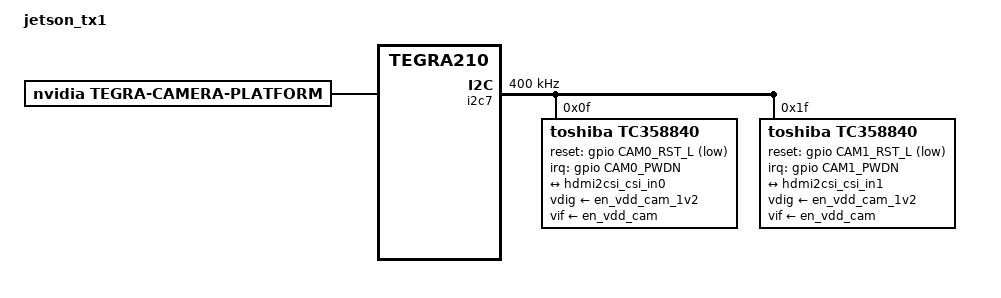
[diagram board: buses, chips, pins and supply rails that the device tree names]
/*
 * arch/arm64/boot/dts/tegra210-jetson-tx1-p2597-2180-a01-devkit.dts
 *
 * Copyright (c) 2016, NVIDIA CORPORATION.  All rights reserved.
 *
 * This program is free software; you can redistribute it and/or modify
 * it under the terms of the GNU General Public License as published by
 * the Free Software Foundation; version 2 of the License.
 *
 * This program is distributed in the hope that it will be useful, but WITHOUT
 * ANY WARRANTY; without even the implied warranty of MERCHANTABILITY or
 * FITNESS FOR A PARTICULAR PURPOSE.  See the GNU General Public License for
 * more details.
 *
 */

#include "tegra210-jetson-cv-base-p2597-2180-a00.dts"

/ {
	model = "jetson_tx1";
	compatible = "nvidia,jetson-cv", "nvidia,tegra210";
	nvidia,dtsfilename = __FILE__;

	#address-cells = <2>;
	#size-cells = <2>;

	chosen {
		bootloader {
			nvidia,skip-display-init;
		};
	};

	host1x {
		dc@54200000 {
			status = "disabled";
		};

		dsi {
			status = "disabled";
			panel-a-wuxga-8-0 {
				status = "disabled";
			};
			panel-s-wqxga-10-1 {
				status = "disabled";
			};
		};

		sor {
			panel-s-edp-uhdtv-15-6 {
				status = "disabled";
			};
			prod-settings {
				status = "disabled";
			};
		};
	};

	i2c@7000c400 {
		lp8557-backlight-a-wuxga-8-0@2c {
			status = "disabled";
		};
	};

	pinmux@700008d4 {
		common {
			/*
			 * Pull down the INT pin of the TC358840 (HDMI IN A) while
			 * in reset in order to set i2c address 0x0F.
			 */
			cam1_pwdn_ps7 {
				nvidia,enable-input = <TEGRA_PIN_ENABLE>;
				nvidia,pull = <TEGRA_PIN_PULL_DOWN>;
				nvidia,tristate = <TEGRA_PIN_DISABLE>;
			};

			/*
			 * Pull up the INT pin of the TC358840 (HDMI IN B) while
			 * in reset in order to set i2c address 0x1F.
			 */
			cam2_pwdn_pt0 {
				nvidia,enable-input = <TEGRA_PIN_ENABLE>;
				nvidia,pull = <TEGRA_PIN_PULL_UP>;
				nvidia,tristate = <TEGRA_PIN_DISABLE>;
			};
		};
	};

	/*
	 * Delete device-tree entries by Nvidia for camera hardware that is not
	 * available on the HDMI2CSI hardware and not supported by tegra_vi2
	 */
	/delete-node/ plugin-manager;
	i2c@7000c000 {
		/delete-node/ ov23850_c@36;
		/delete-node/ lc898212@72;
	};
	/delete-node/ tegra-camera-platform;
	aliases {
		/delete-property/ gpio288;
	};
	host1x {
		// /delete-node/ vi;
		vi {
			/delete-node/ ports;
		};
		/delete-node/ nvcsi;
		/delete-node/ i2c@546c0000;
	};
	/* en_vdd_vcm_2v8: Conflict with CAM0_RST_L */
	regulators {
		/delete-node/ regulator@210;
	};
	gpio: gpio@6000d000 {
		/delete-node/ camera-control-output-low;
	};

	host1x {
		i2c7: i2c@546c0000 {
			#address-cells = <1>;
			#size-cells = <0>;
			compatible = "nvidia,tegra210-vii2c";
			reg = <0x0 0x546C0000 0x0 0x00034000>;
			iommus = <&smmu TEGRA_SWGROUP_VII2C>;
			interrupts = <0 17 0x04>;
			scl-gpio = <&gpio TEGRA_GPIO(S, 2) 0>;
			sda-gpio = <&gpio TEGRA_GPIO(S, 3) 0>;
			clocks = <&tegra_car TEGRA210_CLK_VI_I2C>,
				<&tegra_car TEGRA210_CLK_I2CSLOW>,
				<&tegra_car TEGRA210_CLK_HOST1X>;
			clock-names = "vii2c", "i2cslow", "host1x";
			resets = <&tegra_car 208>;
			reset-names = "vii2c";
			clock-frequency = <400000>;

			status = "okay";
			bus-pullup-supply = <&max77620_sd3>;
			avdd_dsi_csi-supply = <&max77620_ldo0>;


			/* HDMI IN A (4K) */
			tc358840@0f {
				compatible = "toshiba,tc358840";
				reg = <0x0f>;
				status = "okay";
				devnode = "video0";

				/* Power Supply */
				vdig-supply = <&en_vdd_cam_1v2>;
				vif-supply = <&en_vdd_cam>;

				/* Reset */
				reset-gpios = <&gpio CAM0_RST_L GPIO_ACTIVE_LOW>;

				/* Interrupt */
				interrupt-parent = <&gpio>;
				interrupts = <CAM0_PWDN IRQ_TYPE_LEVEL_HIGH>;

				refclk_hz = <48000000>; /* 40 - 50 MHz */

				ddc5v_delay = <1>;		/* 50 ms */

				/* HDCP */
				/* TODO: Not yet implemented */
				enable_hdcp = <0>;

				/* CSI Output */
				/* Enable TX0 (4 lanes) & TX1 (4 lanes) */
				csi_port = <3>;
				/* FIXME: DEBUG */
				// csi_port = <1>;

				lineinitcnt = <0x00000FA0>;
				lptxtimecnt = <0x00000004>;
				tclk_headercnt = <0x00180203>;
				tclk_trailcnt = <0x00040005>;
				ths_headercnt = <0x000D0004>;
				twakeup = <0x00003E80>;
				tclk_postcnt = <0x0000000A>;
				ths_trailcnt = <0x00080006>;
				hstxvregcnt = <0x00000020>;

				/* PLL */
				/* Bps per lane is (refclk_hz / pll_prd) * pll_fbd */
				pll_prd = <10>;
				pll_fbd = <125>;

				port@0 {
					ret = <0>;
					hdmi2csi_tc358840_out0: endpoint {
						csi-port = <0>;
						bus-width = <8>;
						remote-endpoint = <&hdmi2csi_csi_in0>;
					};
				};
			};

			/* HDMI IN B (Full HD) */
			tc358840@1f {
				compatible = "toshiba,tc358840";
				reg = <0x1f>;
				status = "okay";
				devnode = "video1";

				/* Power Supply */
				vdig-supply = <&en_vdd_cam_1v2>;
				vif-supply = <&en_vdd_cam>;

				/* Reset */
				reset-gpios = <&gpio CAM1_RST_L GPIO_ACTIVE_LOW>;

				/* Interrupt */
				interrupt-parent = <&gpio>;
				interrupts = <CAM1_PWDN IRQ_TYPE_LEVEL_HIGH>;

				refclk_hz = <48000000>; /* 40 - 50 MHz */

				ddc5v_delay = <1>;	/* 50 ms */

				/* HDCP */
				/* TODO: Not yet implemented */
				enable_hdcp = <0>;

				/* CSI Output */
				csi_port = <1>;		/* Enable TX0 only */

				lineinitcnt = <0x00000FA0>;
				lptxtimecnt = <0x00000004>;
				tclk_headercnt = <0x00180203>;
				tclk_trailcnt = <0x00040005>;
				ths_headercnt = <0x000D0004>;
				twakeup = <0x00003E80>;
				tclk_postcnt = <0x0000000A>;
				ths_trailcnt = <0x00080006>;
				hstxvregcnt = <0x00000020>;

				/* PLL */
				/* Bps per lane is (refclk_hz / pll_prd) * pll_fbd */
				pll_prd = <10>;
				pll_fbd = <125>;

				port@0 {
					ret = <0>;
					hdmi2csi_tc358840_out1: endpoint {
						csi-port = <4>;
						bus-width = <4>;
						remote-endpoint = <&hdmi2csi_csi_in1>;
					};
				};
			};
		};
	};

	host1x {
		vi {
			num-channels = <2>;
			ports {
				#address-cells = <1>;
				#size-cells = <0>;
				port@0 {
					reg = <0>;
					hdmi2csi_vi_in0: endpoint {
						csi-port = <0>;
						bus-width = <8>;
						remote-endpoint = <&hdmi2csi_csi_out0>;
					};
				};
				port@1 {
					reg = <1>;
					hdmi2csi_vi_in1: endpoint {
						csi-port = <4>;
						bus-width = <4>;
						remote-endpoint = <&hdmi2csi_csi_out1>;
					};
				};
			};
		};

		nvcsi {
			num-channels = <2>;
			#address-cells = <1>;
			#size-cells = <0>;
			channel@0 {
				reg = <0>;
				ports {
					#address-cells = <1>;
					#size-cells = <0>;
					port@0 {
						reg = <0>;
						hdmi2csi_csi_in0: endpoint@0 {
							csi-port = <0>;
							bus-width = <8>;
							remote-endpoint = <&hdmi2csi_tc358840_out0>;
						};
					};
					port@1 {
						reg = <1>;
						hdmi2csi_csi_out0: endpoint@1 {
							remote-endpoint = <&hdmi2csi_vi_in0>;
						};
					};
				};
			};
			channel@1 {
				reg = <1>;
				ports {
					#address-cells = <1>;
					#size-cells = <0>;
					port@0 {
						reg = <0>;
						hdmi2csi_csi_in1: endpoint@2 {
							csi-port = <4>;
							bus-width = <4>;
							remote-endpoint = <&hdmi2csi_tc358840_out1>;
						};
					};
					port@1 {
						reg = <1>;
						hdmi2csi_csi_out1: endpoint@3 {
							remote-endpoint = <&hdmi2csi_vi_in1>;
						};
					};
				};
			};
		};
	};

	tegra-camera-platform {
		compatible = "nvidia, tegra-camera-platform";
		/**
		* Physical settings to calculate max ISO BW
		*
		* num_csi_lanes = <>;
		* Total number of CSI lanes when all cameras are active
		*
		* max_lane_speed = <>;
		* Max lane speed in Kbit/s
		*
		* min_bits_per_pixel = <>;
		* Min bits per pixel
		*
		* vi_peak_byte_per_pixel = <>;
		* Max byte per pixel for the VI ISO case
		*
		* vi_bw_margin_pct = <>;
		* Vi bandwidth margin in percentage
		*
		* max_pixel_rate = <>;
		* Max pixel rate in Kpixel/s for the ISP ISO case
		*
		* isp_peak_byte_per_pixel = <>;
		* Max byte per pixel for the ISP ISO case
		*
		* isp_bw_margin_pct = <>;
		* Isp bandwidth margin in percentage
		*/
		num_csi_lanes = <12>;
		max_lane_speed = <1500000>;
		min_bits_per_pixel = <16>;
		vi_peak_byte_per_pixel = <3>;
		vi_bw_margin_pct = <25>;
		// max_pixel_rate = <0>;
		isp_peak_byte_per_pixel = <3>;
		isp_bw_margin_pct = <25>;

		/**
		* The general guideline for naming badge_info contains 3 parts, and is as follows,
		* The first part is the camera_board_id for the module; if the module is in a FFD
		* platform, then use the platform name for this part.
		* The second part contains the position of the module, ex. “rear” or “front”.
		* The third part contains the last 6 characters of a part number which is found
		* in the module's specsheet from the vender.
		*/
		modules {
			module0 {
				badge = "hdmi2csi_left_358840";
				position = "left";
				orientation = "1";
				drivernode0 {
					/* Declare PCL support driver (classically known as guid)  */
					pcl_id = "v4l2_sensor";
					/* Driver v4l2 device name */
					devname = "tc358840 6-000f";
					/* Declare the device-tree hierarchy to driver instance */
					proc-device-tree = "/proc/device-tree/host1x/i2c@546c0000/tc358840@0f";
				};
			};
			module1 {
				badge = "hdmi2csi_right_358840";
				position = "right";
				orientation = "1";
				drivernode0 {
					/* Declare PCL support driver (classically known as guid)  */
					pcl_id = "v4l2_sensor";
					/* Driver v4l2 device name */
					devname = "ov23850 6-001f";
					/* Declare the device-tree hierarchy to driver instance */
					proc-device-tree = "/proc/device-tree/host1x/i2c@546c0000/tc358840@1f";
				};
			};
		};
	};

	regulators {
		/*** Enable power supply for HDMI extension board ***/
		/* VDD_SYS_EN */
		en_vdd_cam: regulator@5 {
			regulator-boot-on;
			regulator-always-on;
		};

		/* CAM_VDD_1V8_EN */
		en_vdd_cam_1v8: regulator@211 {
			regulator-boot-on;
			regulator-always-on;
		};

		/* CAM_VDD_1V2_EN */
		en_vdd_cam_1v2: regulator@209 {
			regulator-boot-on;
			regulator-always-on;
		};
	};

	backlight {
		status = "disabled";
		panel-a-wuxga-8-0-bl {
			status = "disabled";
		};
		panel-s-edp-uhdtv-15-6-bl {
			status = "disabled";
		};
	};

	sor {
		status = "disabled";
		prod-settings {
			status = "disabled";
		};
		panel-s-edp-uhdtv-15-6 {
			smartdimmer {
				status = "disabled";
			};
		};
	};
};

